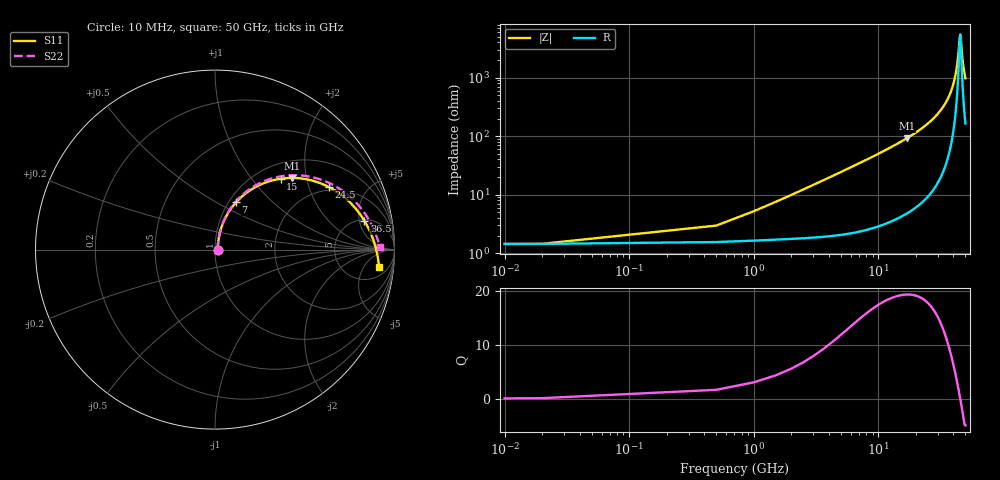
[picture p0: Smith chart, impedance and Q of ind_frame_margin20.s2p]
! Created with skrf 2.2.0 (http://scikit-rf.org).
# GHz S DB R 50.0
! Port[1] = P1
! Port[2] = P2
!freq dBS11 angS11 dBS21 angS21 dBS12 angS12 dBS22 angS22
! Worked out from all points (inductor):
!   102 points, 10 MHz to 50 GHz, reference 50 ohm
!   read as 1/Y11, port 2 shorted: L = 777 pH near 1 GHz
!   highest Q = 19.4 at 17 GHz (marker M1), where L = 866 pH
!   self-resonance near 45 GHz
!   S11 on the Smith chart (normalised r, x): 10 MHz: 1.03, +0.00; 7 GHz: 1.08, +0.62; 15 GHz: 1.27, +1.41; 24.5 GHz: 1.86, +2.72; 36.5 GHz: 5.26, +5.98; 50 GHz: 9, -12
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0.01  -36.98 2.0  -0.12 -0.0  -0.12 -0.0  -36.98 2.0
0.5  -31.39 54.4  -0.14 -1.6  -0.14 -1.6  -31.39 54.4
1  -26.67 67.3  -0.15 -3.1  -0.15 -3.1  -26.66 67.4
1.5  -23.50 71.7  -0.17 -4.5  -0.17 -4.5  -23.50 71.9
2  -21.15 73.5  -0.19 -6.0  -0.19 -6.0  -21.15 73.7
2.5  -19.30 74.0  -0.22 -7.4  -0.22 -7.4  -19.30 74.2
3  -17.77 73.8  -0.24 -8.9  -0.24 -8.9  -17.77 74.1
4  -15.36 72.6  -0.31 -11.7  -0.31 -11.7  -15.37 73.0
5.5  -12.74 69.5  -0.43 -15.9  -0.43 -15.9  -12.74 70.1
7  -10.80 66.0  -0.59 -20.0  -0.59 -20.0  -10.81 66.8
8.5  -9.30 62.4  -0.77 -23.9  -0.77 -23.9  -9.31 63.3
11.5  -7.11 55.1  -1.20 -31.4  -1.20 -31.4  -7.12 56.5
15  -5.38 47.2  -1.79 -39.4  -1.79 -39.4  -5.39 49.0
17  -4.64 43.0  -2.16 -43.6  -2.16 -43.6  -4.65 45.0
20.5  -3.65 36.1  -2.84 -50.5  -2.84 -50.5  -3.66 38.5
24.5  -2.82 28.9  -3.64 -57.5  -3.64 -57.5  -2.83 31.9
25.5  -2.65 27.2  -3.84 -59.2  -3.84 -59.2  -2.66 30.3
29.5  -2.10 20.9  -4.67 -65.4  -4.67 -65.4  -2.11 24.5
33.5  -1.68 15.0  -5.51 -71.1  -5.51 -71.1  -1.69 19.2
36.5  -1.43 10.8  -6.14 -75.1  -6.14 -75.1  -1.44 15.5
42  -1.08 3.7  -7.31 -81.9  -7.31 -81.9  -1.09 9.2
50  -0.74 -6.0  -9.08 -91.1  -9.08 -91.1  -0.74 0.9
